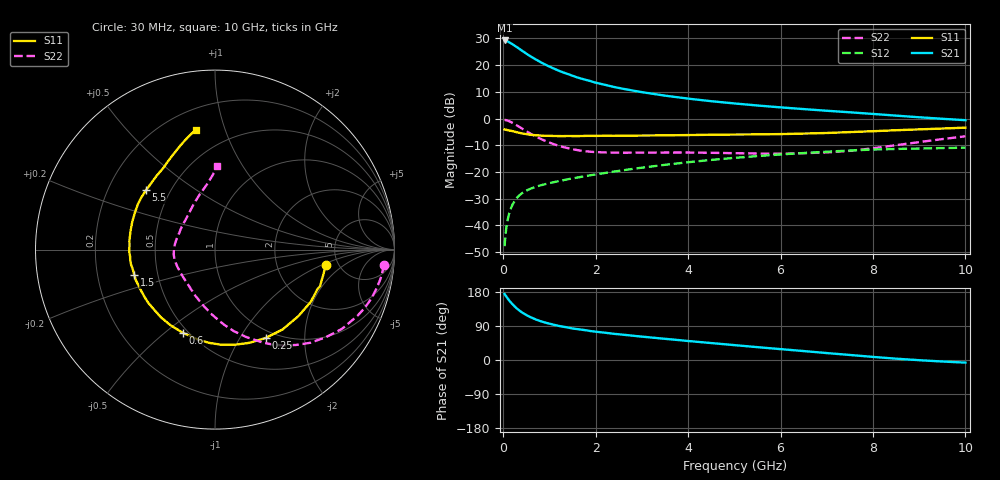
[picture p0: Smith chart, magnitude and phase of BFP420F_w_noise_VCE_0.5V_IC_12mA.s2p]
! Infineon Technologies  Discrete & RF Semiconductors
! BFP420F
! VCE =  0.5 V,  IC =  12 mA
! Common Emitter S-Parameters:  Sep 2011
# GHz  S  MA  R  50
!  f  S11  S21  S12  S22
! GHz  MAG  ANG  MAG  ANG  MAG  ANG  MAG  ANG
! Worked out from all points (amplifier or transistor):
!   54 points, 30 MHz to 10 GHz, reference 50 ohm
!   highest |S21| = 29.2 dB at 30 MHz (marker M1)
!   |S21| within 3 dB of that: start of sweep to 337.7 MHz
!   unconditionally stable (mu >= 1): 1.833 GHz to end of sweep
!   at 120 MHz: K = 0.19, MSG = 32.4 dB, |S12| = -36.1 dB
!   at 1.3 GHz: K = 0.84, MSG = 20.2 dB, |S12| = -23.0 dB
!   at 10 GHz: K = 1.24, MAG = 2.2 dB, |S12| = -10.9 dB
!   lowest NFmin = 1.26 dB at 450 MHz
!   S11 on the Smith chart (normalised r, x): 30 MHz: 3.99, -1.16; 250 MHz: 0.89, -1.30; 600 MHz: 0.47, -0.58; 1.5 GHz: 0.37, -0.13; 5.5 GHz: 0.37, +0.33; 10 GHz: 0.32, +0.80
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0.03  0.6257 -8.1  29 174.1  0.0041 89.4  0.9437 -5.1
0.05  0.6198 -13.0  28.57 170.1  0.0068 86.3  0.9393 -8.6
0.07  0.62 -19.2  28.49 167.1  0.0094 81.5  0.9298 -12.1
0.12  0.6018 -31.7  27.2 158.3  0.0156 77.5  0.8997 -20.2
0.15  0.5944 -38.6  26.2 153.9  0.0193 74.1  0.8748 -25.0
0.2  0.5828 -49.8  24.67 147.3  0.0245 69.8  0.8339 -32.0
0.25  0.5676 -60.2  23.05 140.9  0.0289 66.0  0.7868 -38.4
0.3  0.5534 -69.9  21.65 135.4  0.0333 62.7  0.7421 -44.4
0.4  0.5308 -86.4  18.8 126.1  0.0398 57.9  0.6565 -54.4
0.5  0.5116 -99.8  16.44 118.7  0.045 54.4  0.5811 -62.9
0.6  0.497 -111.2  14.43 112.5  0.0491 51.9  0.5168 -70.4
0.7  0.4885 -120.8  12.87 107.2  0.0529 50.4  0.4661 -77.0
0.9  0.4764 -135.4  10.33 99.1  0.0591 48.7  0.3853 -88.5
1.2  0.471 -151.2  7.878 90.0  0.0676 48.1  0.3108 -103.8
1.5  0.4713 -162.4  6.342 83.2  0.0761 48.2  0.2669 -117.1
1.7  0.4722 -167.9  5.568 79.9  0.0816 48.3  0.2491 -125.5
2.4  0.4767 177.2  3.9 69.0  0.1022 48.1  0.2311 -147.4
3.5  0.4865 161.2  2.69 55.9  0.1365 45.6  0.2317 -166.4
5.5  0.507 139.4  1.759 33.9  0.1989 34.9  0.2221 164.2
7  0.5381 122.4  1.403 18.3  0.2401 25.0  0.233 135.0
8.5  0.606 109.2  1.137 3.5  0.2705 13.8  0.3179 105.7
10  0.6771 98.9  0.934 -6.9  0.2859 5.4  0.4665 88.5
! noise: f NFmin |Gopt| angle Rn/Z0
0.45  1.26  0.03  161  0.12
0.9  1.26  0.06  135  0.14
1.9  1.4  0.17  170  0.18
2.4  1.46  0.17  173  0.12
3.5  1.72  0.22  -173  0.16
